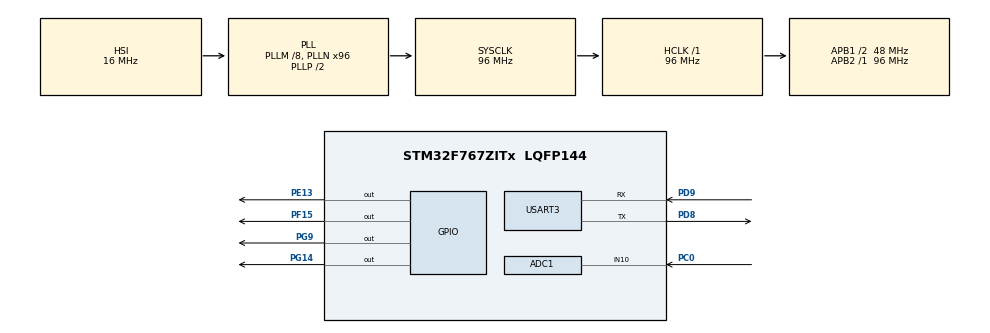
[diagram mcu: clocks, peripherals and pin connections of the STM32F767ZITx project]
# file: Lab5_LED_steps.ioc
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ADC1.Channel-0\#ChannelRegularConversion=ADC_CHANNEL_10
ADC1.ContinuousConvMode=ENABLE
ADC1.EOCSelection=ADC_EOC_SEQ_CONV
ADC1.NbrOfConversionFlag=1
ADC1.Rank-0\#ChannelRegularConversion=1
ADC1.SamplingTime-0\#ChannelRegularConversion=ADC_SAMPLETIME_3CYCLES
ADC1.master=1
Mcu.Family=STM32F7
Mcu.Name=STM32F767ZITx
Mcu.Package=LQFP144
NVIC.PriorityGroup=NVIC_PRIORITYGROUP_4
PC0.Signal=SharedAnalog_PC0
PD8.Mode=Asynchronous
PD8.Signal=USART3_TX
PD9.Mode=Asynchronous
PD9.Signal=USART3_RX
PE13.Signal=GPIO_Output
PF15.Signal=GPIO_Output
PG14.Signal=GPIO_Output
PG9.Signal=GPIO_Output
ProjectManager.HeapSize=0x200
ProjectManager.StackSize=0x400
ProjectManager.TargetToolchain=STM32CubeIDE
RCC.48MHZClocksFreq_Value=24000000
RCC.AHBFreq_Value=96000000
RCC.APB1CLKDivider=RCC_HCLK_DIV2
RCC.APB1Freq_Value=48000000
RCC.APB1TimFreq_Value=96000000
RCC.APB2Freq_Value=96000000
RCC.APB2TimFreq_Value=96000000
RCC.CortexFreq_Value=96000000
RCC.HCLKFreq_Value=96000000
RCC.HSE_VALUE=8000000
RCC.HSI_VALUE=16000000
RCC.LSE_VALUE=32768
RCC.PLLM=8
RCC.PLLMUL=RCC_PLL_MUL9
RCC.PLLN=96
RCC.PLLQ=4
RCC.PRESCALERUSB=RCC_USBCLKSOURCE_PLL_DIV1_5
RCC.SYSCLKFreq_VALUE=96000000
RCC.SYSCLKSource=RCC_SYSCLKSOURCE_PLLCLK
RCC.SYSCLKSourceVirtual=RCC_SYSCLKSOURCE_PLLCLK
RCC.USBFreq_Value=48000000
RCC.VCOOutputFreq_Value=192000000
SH.SharedAnalog_PC0.0=GPIO_Analog
SH.SharedAnalog_PC0.1=ADC1_IN10,IN10
USART3.VirtualMode-Asynchronous=VM_ASYNC
board=NUCLEO-F767ZI

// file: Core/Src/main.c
/* USER CODE BEGIN Header */
/**
  ******************************************************************************
  * @file           : main.c
  * @brief          : Main program body
  ******************************************************************************
  * @attention
  *
  * Copyright (c) 2025 STMicroelectronics.
  * All rights reserved.
  *
  * This software is licensed under terms that can be found in the LICENSE file
  * in the root directory of this software component.
  * If no LICENSE file comes with this software, it is provided AS-IS.
  *
  ******************************************************************************
  */
/* USER CODE END Header */
#include "main.h"
#include "adc.h"
#include "usart.h"
#include "gpio.h"

/* USER CODE BEGIN Includes */
#include <stdio.h>
#include <string.h>
/* USER CODE END Includes */

/* USER CODE BEGIN PM */
struct LED{
  GPIO_TypeDef* port;
  uint16_t pin;
};
/* USER CODE END PM */

/* USER CODE BEGIN PV */
volatile uint32_t adc_val = 0;
 volatile uint32_t adc_val_avg_8 = 0;
 volatile uint32_t adc_val_avg_16 = 0;
struct LED LED_ARR[4] = { {GPIOE, GPIO_PIN_13},
                          {GPIOF, GPIO_PIN_15},
                          {GPIOG, GPIO_PIN_14},
                          {GPIOG, GPIO_PIN_9} };
/* USER CODE END PV */

void SystemClock_Config(void);
/* USER CODE BEGIN PFP */
void transmitUARTStr(char* str);
void transmitUARTChar(char c);
void displayHEX(uint32_t dec);
uint32_t average_8(uint32_t x);
uint32_t average_16(uint32_t x);
void analogToLEDs(uint32_t analog);
/* USER CODE END PFP */

int main(void)
{

  /* MCU Configuration--------------------------------------------------------*/

  /* Reset of all peripherals, Initializes the Flash interface and the Systick. */
  HAL_Init();

  /* Configure the system clock */
  SystemClock_Config();

  /* Initialize all configured peripherals */
  MX_GPIO_Init();
  MX_ADC1_Init();
  MX_USART3_UART_Init();

  /* Infinite loop */
  /* USER CODE BEGIN WHILE */
  HAL_ADC_Start(&hadc1);
  while (1)
  {
    /* USER CODE END WHILE */

    /* USER CODE BEGIN 3 */
    while (HAL_ADC_PollForConversion(&hadc1, 100) != HAL_OK) {}
    adc_val = HAL_ADC_GetValue(&hadc1);
    analogToLEDs(adc_val);
     adc_val_avg_8 = average_8(adc_val);
     adc_val_avg_16 = average_16(adc_val);

    transmitUARTStr("ADC1_CH10 ");

    displayHEX(adc_val);

    char buf[20];
    float v_in = adc_val/4095.0 * 3.3;
//    int int_part = (int)v_in;
//    int dec_part = (int)((v_in - int_part) * 100);
    sprintf(buf, "%.2f", v_in);
    transmitUARTStr(" Vin = ");
    transmitUARTStr(buf);
    transmitUARTStr(" V\r\n");
    HAL_Delay(400);
  }
  /* USER CODE END 3 */
}

void SystemClock_Config(void)
{
  RCC_OscInitTypeDef RCC_OscInitStruct = {0};
  RCC_ClkInitTypeDef RCC_ClkInitStruct = {0};

  /** Configure the main internal regulator output voltage
  */
  __HAL_RCC_PWR_CLK_ENABLE();
  __HAL_PWR_VOLTAGESCALING_CONFIG(PWR_REGULATOR_VOLTAGE_SCALE3);

  /** Initializes the RCC Oscillators according to the specified parameters
  * in the RCC_OscInitTypeDef structure.
  */
  RCC_OscInitStruct.OscillatorType = RCC_OSCILLATORTYPE_HSI;
  RCC_OscInitStruct.HSIState = RCC_HSI_ON;
  RCC_OscInitStruct.HSICalibrationValue = RCC_HSICALIBRATION_DEFAULT;
  RCC_OscInitStruct.PLL.PLLState = RCC_PLL_ON;
  RCC_OscInitStruct.PLL.PLLSource = RCC_PLLSOURCE_HSI;
  RCC_OscInitStruct.PLL.PLLM = 8;
  RCC_OscInitStruct.PLL.PLLN = 96;
  RCC_OscInitStruct.PLL.PLLP = RCC_PLLP_DIV2;
  RCC_OscInitStruct.PLL.PLLQ = 4;
  RCC_OscInitStruct.PLL.PLLR = 2;
  if (HAL_RCC_OscConfig(&RCC_OscInitStruct) != HAL_OK)
  {
    Error_Handler();
  }

  /** Activate the Over-Drive mode
  */
  if (HAL_PWREx_EnableOverDrive() != HAL_OK)
  {
    Error_Handler();
  }

  /** Initializes the CPU, AHB and APB buses clocks
  */
  RCC_ClkInitStruct.ClockType = RCC_CLOCKTYPE_HCLK|RCC_CLOCKTYPE_SYSCLK
                              |RCC_CLOCKTYPE_PCLK1|RCC_CLOCKTYPE_PCLK2;
  RCC_ClkInitStruct.SYSCLKSource = RCC_SYSCLKSOURCE_PLLCLK;
  RCC_ClkInitStruct.AHBCLKDivider = RCC_SYSCLK_DIV1;
  RCC_ClkInitStruct.APB1CLKDivider = RCC_HCLK_DIV2;
  RCC_ClkInitStruct.APB2CLKDivider = RCC_HCLK_DIV1;

  if (HAL_RCC_ClockConfig(&RCC_ClkInitStruct, FLASH_LATENCY_3) != HAL_OK)
  {
    Error_Handler();
  }
}

/* USER CODE BEGIN 4 */
void transmitUARTStr(char* str){
  while (__HAL_UART_GET_FLAG(&huart3, UART_FLAG_TC)==RESET){}
  HAL_UART_Transmit(&huart3, (uint8_t*)str, strlen(str), 1000);
}

void transmitUARTChar(char c){
  while (__HAL_UART_GET_FLAG(&huart3, UART_FLAG_TC)==RESET){}
  HAL_UART_Transmit(&huart3, (uint8_t*)&c, 1, 1000);
}

void displayHEX(uint32_t dec){
  char buf[13];
  sprintf(buf, "0x%08x", (unsigned int)dec);
  transmitUARTStr(buf);
}

uint32_t average_8(uint32_t x){
  static uint32_t samples[8];
  static int i = 0;
  static uint32_t total = 0;

  total += x - samples[i];
  samples[i] = x;

  i = ((i == 7) ? 0 : i+1);

  return total >> 3;
}

uint32_t average_16(uint32_t x){
  static uint32_t samples[16];
  static int i = 0;
  static uint32_t total = 0;

  total += x - samples[i];
  samples[i] = x;

  i = ((i == 15) ? 0 : i+1);

  return total >> 4;
}

void analogToLEDs(uint32_t analog){
  uint32_t step = 4096/5;
  int level = analog/step;
  int i = 0;
  while (i < 4){
    struct LED led = LED_ARR[i];

    int state = (i < level) ? GPIO_PIN_SET : GPIO_PIN_RESET;
    HAL_GPIO_WritePin(led.port, led.pin, state);
    i++;
  }
}
/* USER CODE END 4 */

void Error_Handler(void)
{
  __disable_irq();
  while (1)
  {
  }
}
